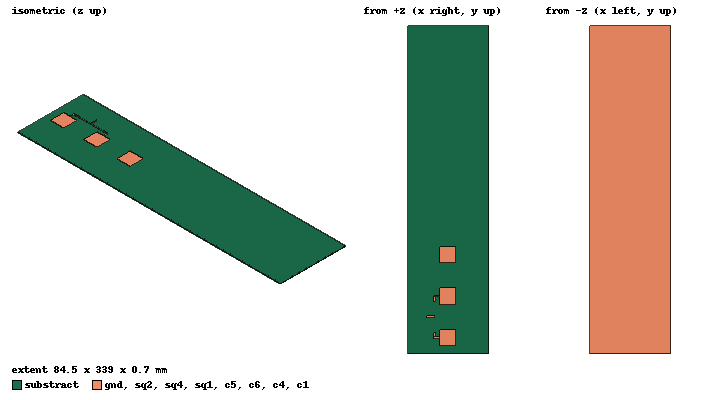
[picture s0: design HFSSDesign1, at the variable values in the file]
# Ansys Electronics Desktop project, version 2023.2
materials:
  vacuum: permittivity=1
  copper: permeability=0.999991 conductivity=58000000
  Isola FR408: permittivity=3.66 dielectric_loss_tangent=0.012

design HFSSDesign1 (HFSS, HFSS Terminal Network, model units mm)
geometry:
  gnd [copper] = box(corner=(0mm, 0mm, 0mm), size=(84.5mm, 339mm, 0.05mm))
  substract [Isola FR408] = box(corner=(0mm, 0mm, 0.05mm), size=(84.5mm, 339mm, 0.6mm))
  sq1 [copper] = box(corner=(33.3mm, 8.1mm, 0.65mm), size=(17.1mm, 17.1mm, 0.05mm))
  sq2 [copper] = box(corner=(33.3mm, 51mm, 0.65mm), size=(17.1mm, 17.1mm, 0.05mm))
  sq4 [copper] = box(corner=(33.3mm, 93.9mm, 0.65mm), size=(17.1mm, 17.1mm, 0.05mm))
  c1 [copper] = box(corner=(27.7mm, 15.9mm, 0.65mm), size=(5.6mm, 1.5mm, 0.05mm))
  c2 [copper] = box(corner=(27.7mm, 58.8mm, 0.65mm), size=(5.6mm, 1.5mm, 0.05mm))
  c3 [copper] = box(corner=(27.7mm, 15.9mm, 0.65mm), size=(1.5mm, 6.1mm, 0.05mm))
  c4 [copper] = box(corner=(27.7mm, 54.2mm, 0.65mm), size=(1.5mm, 6.1mm, 0.05mm))
  c5 [copper] = box(corner=(28.15mm, 22mm, 0.65mm), size=(0.6mm, 32.2mm, 0.05mm))
  c6 [copper] = box(corner=(20.15mm, 37.35mm, 0.65mm), size=(8mm, 1.5mm, 0.05mm))
